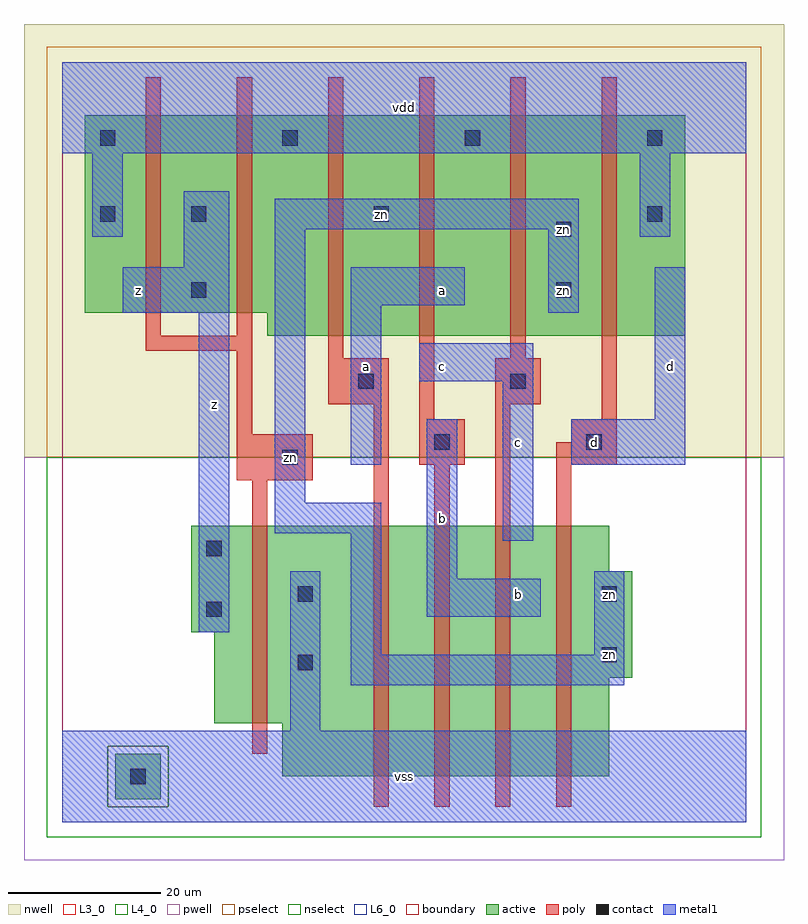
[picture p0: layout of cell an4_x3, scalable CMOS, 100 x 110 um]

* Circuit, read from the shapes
.subckt an4_x3 a b c d vdd vss z zn
M1 vss zn z vss nfet w=26u l=2u
M2 n1 a vss vss nfet w=33u l=2u
M3 n2 b n1 vss nfet w=33u l=2u
M4 n3 c n2 vss nfet w=33u l=2u
M5 zn d n3 vss nfet w=33u l=2u
M6 z zn vdd n4 pfet w=26u l=2u m=2
M7 zn a vdd n4 pfet w=29u l=2u
M8 vdd b zn n4 pfet w=29u l=2u
M9 zn c vdd n4 pfet w=29u l=2u
M10 vdd d zn n4 pfet w=29u l=2u
.ends

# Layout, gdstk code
import gdstk
lib = gdstk.Library(unit=1e-6, precision=1e-09)
def R(c, l, rs):  # rectangles x0, y0, x1, y1
    for r in rs: c.add(gdstk.rectangle(r[:2], r[2:], *l))
def A(c, l, x, y, w, h, nx, ny, dx, dy):  # array of equal rectangles
    R(c, l, [(x+i*dx, y+j*dy, x+i*dx+w, y+j*dy+h) for i in range(nx) for j in range(ny)])
L3_0 = (3, 0)
L4_0 = (4, 0)
L6_0 = (6, 0)
contact = (25, 0)
pwell = (41, 0)
nwell = (42, 0)
active = (43, 0)
pselect = (44, 0)
nselect = (45, 0)
poly = (46, 0)
metal1 = (49, 0)
boundary = (63, 0)

an4_x3 = lib.new_cell('an4_x3')
R(an4_x3, L3_0, [(29,6,72,13), (20,13,72,19), (20,19,75,25), (17,25,75,33), (17,33,72,39)])
R(an4_x3, L4_0, [(27,64,82,67), (3,67,82,93)])
R(an4_x3, L6_0, [(7,3,13,9)])
A(an4_x3, contact, 5, 89, 2, 2, 4, 1, 24, 0)
R(an4_x3, contact, [(9,5,11,7), (31,20,33,22), (71,21,73,23), (19,27,21,29), (31,29,33,31), (71,29,73,31), (19,35,21,37), (29,47,31,49), (49,49,51,51), (69,49,71,51), (39,57,41,59), (59,57,61,59), (17,69,19,71), (65,69,67,71), (65,77,67,79), (5,79,7,81), (17,79,19,81), (41,79,43,81), (77,79,79,81)])
R(an4_x3, pwell, [(-5,-5,95,48)])
R(an4_x3, nwell, [(-5,48,95,105)])
R(an4_x3, active, [(7,3,13,9), (29,6,72,13), (20,13,72,19), (20,19,75,25), (17,25,75,33), (17,33,72,39), (27,64,82,67), (3,67,82,93)])
R(an4_x3, pselect, [(6,2,14,10), (-2,48,92,102)])
R(an4_x3, nselect, [(-2,-2,92,2), (-2,2,6,10), (14,2,92,10), (-2,10,92,48)])
R(an4_x3, poly, [(41,2,43,55), (49,2,51,47), (57,2,59,55), (65,2,67,47), (25,9,27,45), (23,45,33,51), (47,47,53,53), (65,47,73,50), (67,50,73,53), (23,51,25,62), (47,53,49,98), (71,53,73,98), (35,55,43,61), (57,55,63,61), (35,61,37,98), (59,61,61,98), (11,62,25,64), (11,64,13,98), (23,64,25,98)])
R(an4_x3, metal1, [(0,0,90,12), (30,12,34,33), (38,18,74,22), (38,22,42,38), (70,22,74,33), (18,25,22,67), (48,27,63,32), (48,32,52,53), (58,37,62,58), (28,38,42,42), (28,42,32,78), (38,47,42,68), (67,47,82,53), (78,53,82,73), (47,58,62,63), (8,67,22,73), (64,67,68,78), (38,68,53,73), (16,73,22,83), (4,77,8,88), (76,77,80,88), (28,78,68,82), (0,88,90,100)])
R(an4_x3, boundary, [(0,0,90,100)])
an4_x3.add(gdstk.Label('zn', (30,48), layer=49, texttype=0))
an4_x3.add(gdstk.Label('zn', (42,80), layer=49, texttype=0))
an4_x3.add(gdstk.Label('zn', (72,22), layer=49, texttype=0))
an4_x3.add(gdstk.Label('zn', (72,30), layer=49, texttype=0))
an4_x3.add(gdstk.Label('zn', (66,70), layer=49, texttype=0))
an4_x3.add(gdstk.Label('zn', (66,78), layer=49, texttype=0))
an4_x3.add(gdstk.Label('z', (10,70), layer=49, texttype=0))
an4_x3.add(gdstk.Label('z', (20,55), layer=49, texttype=0))
an4_x3.add(gdstk.Label('a', (40,60), layer=49, texttype=0))
an4_x3.add(gdstk.Label('vss', (45,6), layer=49, texttype=0))
an4_x3.add(gdstk.Label('b', (60,30), layer=49, texttype=0))
an4_x3.add(gdstk.Label('b', (50,40), layer=49, texttype=0))
an4_x3.add(gdstk.Label('c', (60,50), layer=49, texttype=0))
an4_x3.add(gdstk.Label('a', (50,70), layer=49, texttype=0))
an4_x3.add(gdstk.Label('c', (50,60), layer=49, texttype=0))
an4_x3.add(gdstk.Label('vdd', (45,94), layer=49, texttype=0))
an4_x3.add(gdstk.Label('d', (70,50), layer=49, texttype=0))
an4_x3.add(gdstk.Label('d', (80,60), layer=49, texttype=0))

lib.write_gds('an4_x3.gds')
